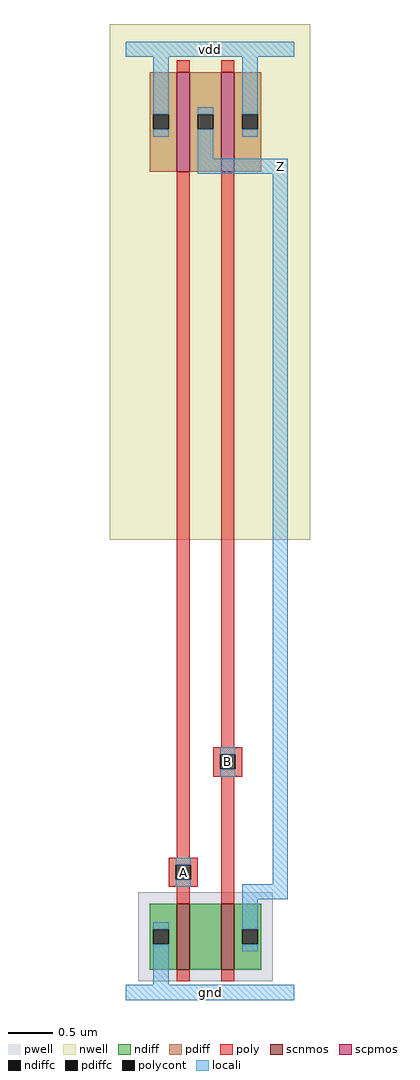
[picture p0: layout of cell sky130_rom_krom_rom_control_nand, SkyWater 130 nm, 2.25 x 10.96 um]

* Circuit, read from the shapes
.subckt sky130_rom_krom_rom_control_nand Z gnd vdd A B
XM1 n1 A gnd VSUBS sky130_fd_pr__nfet_01v8 w=0.74 l=0.15
XM2 Z B n1 VSUBS sky130_fd_pr__nfet_01v8 w=0.74 l=0.15
XM3 Z A vdd n2 sky130_fd_pr__pfet_01v8 w=1.12 l=0.15
XM4 vdd B Z n2 sky130_fd_pr__pfet_01v8 w=1.12 l=0.15
.ends

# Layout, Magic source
magic
tech sky130A
magscale 1 2
<< nwell >>
rect -36 1017 414 2176
<< pwell >>
rect 28 25 330 225
<< scnmos >>
rect 114 51 144 199
rect 214 51 244 199
<< scpmos >>
rect 114 1844 144 2068
rect 214 1844 244 2068
<< ndiff >>
rect 54 142 114 199
rect 54 108 62 142
rect 96 108 114 142
rect 54 51 114 108
rect 144 51 214 199
rect 244 142 304 199
rect 244 108 262 142
rect 296 108 304 142
rect 244 51 304 108
<< pdiff >>
rect 54 1973 114 2068
rect 54 1939 62 1973
rect 96 1939 114 1973
rect 54 1844 114 1939
rect 144 1973 214 2068
rect 144 1939 162 1973
rect 196 1939 214 1973
rect 144 1844 214 1939
rect 244 1973 304 2068
rect 244 1939 262 1973
rect 296 1939 304 1973
rect 244 1844 304 1939
<< ndiffc >>
rect 62 108 96 142
rect 262 108 296 142
<< pdiffc >>
rect 62 1939 96 1973
rect 162 1939 196 1973
rect 262 1939 296 1973
<< poly >>
rect 114 2068 144 2094
rect 214 2068 244 2094
rect 114 303 144 1844
rect 214 551 244 1844
rect 196 535 262 551
rect 196 501 212 535
rect 246 501 262 535
rect 196 485 262 501
rect 96 287 162 303
rect 96 253 112 287
rect 146 253 162 287
rect 96 237 162 253
rect 114 199 144 237
rect 214 199 244 485
rect 114 25 144 51
rect 214 25 244 51
<< polycont >>
rect 212 501 246 535
rect 112 253 146 287
<< locali >>
rect 0 2102 378 2136
rect 62 1973 96 2102
rect 62 1923 96 1939
rect 162 1973 196 1989
rect 162 1873 196 1939
rect 262 1973 296 2102
rect 262 1923 296 1939
rect 162 1839 364 1873
rect 212 535 246 551
rect 212 485 246 501
rect 112 287 146 303
rect 112 237 146 253
rect 330 243 364 1839
rect 262 209 364 243
rect 62 142 96 158
rect 62 17 96 108
rect 262 142 296 209
rect 262 92 296 108
rect 0 -17 378 17
<< labels >>
rlabel locali s 347 1856 347 1856 4 Z
port 1 nsew
rlabel locali s 189 0 189 0 4 gnd
port 2 nsew
rlabel locali s 189 2119 189 2119 4 vdd
port 3 nsew
rlabel locali s 129 270 129 270 4 A
port 4 nsew
rlabel locali s 229 518 229 518 4 B
port 5 nsew
<< properties >>
string FIXED_BBOX 0 0 378 1872
<< end >>
